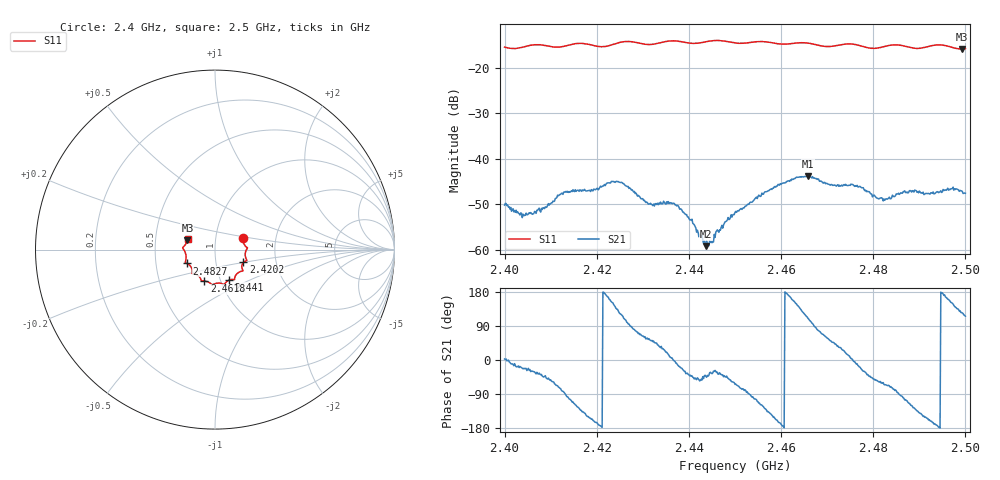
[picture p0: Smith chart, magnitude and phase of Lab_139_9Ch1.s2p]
# Hz S RI R 50
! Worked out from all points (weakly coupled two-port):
!   601 points, 2.4 GHz to 2.5 GHz, reference 50 ohm
!   highest |S21| = -43.78 dB at 2.4658 GHz (marker M1); lowest = -59.2 dB at 2.4437 GHz (marker M2)
!   lowest |S11| = -15.8 dB at 2.4993 GHz (marker M3), VSWR 1.39, Z = 36.5 + j3.84 ohm
!   |S11| at or under -10 dB: start of sweep to end of sweep
!   S12 and S22 are empty: the file has one direction only
!   S11 on the Smith chart (normalised r, x): 2.4 GHz: 1.36, +0.18; 2.4202 GHz: 1.36, -0.20; 2.441 GHz: 1.10, -0.39; 2.4618 GHz: 0.84, -0.30; 2.4827 GHz: 0.72, -0.11; 2.5 GHz: 0.73, +0.09
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2.4e9  0.1582 0.0626  0.00308 0.000146  0 0  0 0
2.404333e9  0.171 0.0176  0.0022 -0.000927  0 0  0 0
2.412833e9  0.1693 -0.038  0.000421 -0.00428  0 0  0 0
2.416667e9  0.1772 -0.0606  -0.00299 -0.00321  0 0  0 0
2.420167e9  0.1582 -0.0712  -0.00462 -0.000987  0 0  0 0
2.424833e9  0.1538 -0.1126  -0.00319 0.00454  0 0  0 0
2.431e9  0.1268 -0.1304  0.00176 0.00278  0 0  0 0
2.433333e9  0.1115 -0.151  0.00241 0.00199  0 0  0 0
2.437167e9  0.1076 -0.1675  0.00308 -0.000456  0 0  0 0
2.441e9  0.0785 -0.1697  0.00131 -0.0014  0 0  0 0
2.443667e9  0.0571 -0.1862  0.000798 -0.000744  0 0  0 0
2.444833e9  0.0527 -0.1924  0.00102 -0.000698  0 0  0 0
2.45e9  0.0283 -0.1871  0.00111 -0.00232  0 0  0 0
2.461833e9  -0.0595 -0.1754  -0.00553 0.00115  0 0  0 0
2.465833e9  -0.0772 -0.172  -0.0022 0.00609  0 0  0 0
2.466667e9  -0.0783 -0.1682  -0.000833 0.0061  0 0  0 0
2.477333e9  -0.1264 -0.1215  0.00448 -0.00189  0 0  0 0
2.482667e9  -0.1561 -0.0771  0.00151 -0.00326  0 0  0 0
2.483333e9  -0.1603 -0.0752  0.00146 -0.0034  0 0  0 0
2.4885e9  -0.1608 -0.0434  -0.00239 -0.00377  0 0  0 0
2.499333e9  -0.1539 0.0512  -0.00245 0.00362  0 0  0 0
2.5e9  -0.1523 0.0609  -0.0018 0.00376  0 0  0 0
